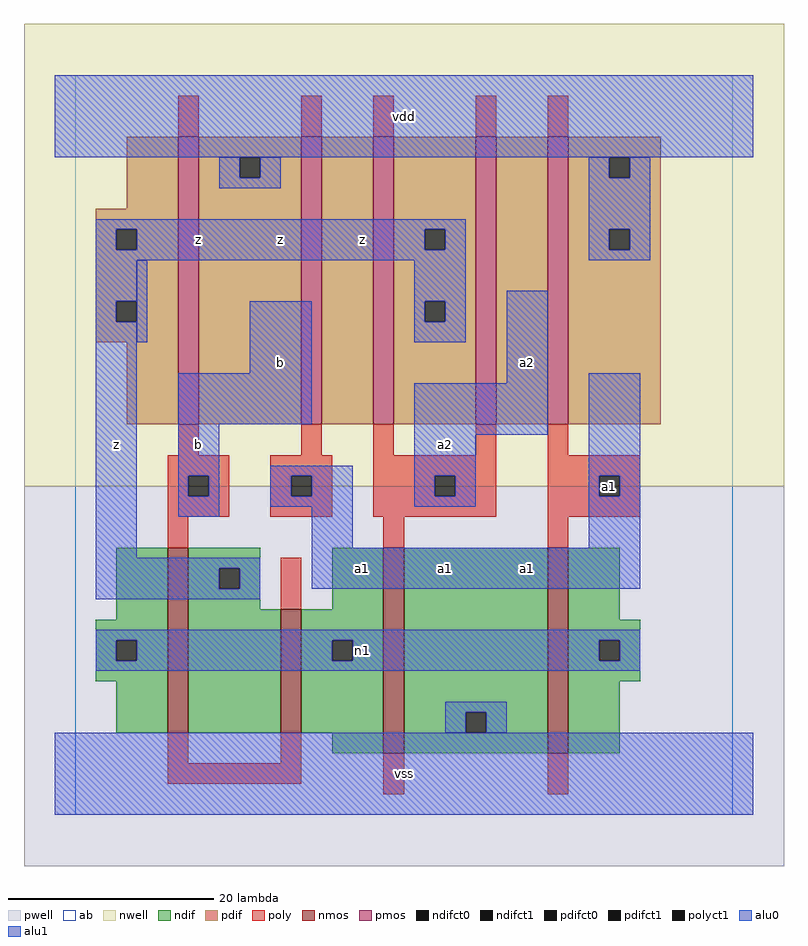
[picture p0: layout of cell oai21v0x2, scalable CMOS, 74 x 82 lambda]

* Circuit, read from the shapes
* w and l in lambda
.subckt oai21v0x2 a1 a2 b n1 vdd vss z
M1 z b n1 VSUBS nfet w=18 l=2
M2 n1 b z VSUBS nfet w=12 l=2
M3 vss a2 n1 VSUBS nfet w=20 l=2
M4 n1 a1 vss VSUBS nfet w=20 l=2
M5 vdd b z n2 pfet w=28 l=2
M6 n3 a1 vdd n2 pfet w=28 l=2
M7 z a2 n3 n2 pfet w=28 l=2
M8 n4 a2 z n2 pfet w=28 l=2
M9 vdd a1 n4 n2 pfet w=28 l=2
.ends

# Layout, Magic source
magic
tech scmos
<< ab >>
rect 0 0 64 72
<< nwell >>
rect -5 32 69 77
<< pwell >>
rect -5 -5 69 32
<< poly >>
rect 10 66 12 70
rect 22 66 24 70
rect 29 66 31 70
rect 39 66 41 70
rect 46 66 48 70
rect 10 35 12 38
rect 22 35 24 38
rect 29 35 31 38
rect 39 35 41 38
rect 9 33 15 35
rect 9 31 11 33
rect 13 31 15 33
rect 9 29 15 31
rect 19 33 25 35
rect 19 31 21 33
rect 23 31 25 33
rect 19 29 25 31
rect 29 33 41 35
rect 29 31 35 33
rect 37 31 41 33
rect 29 29 41 31
rect 46 35 48 38
rect 46 33 55 35
rect 46 31 51 33
rect 53 31 55 33
rect 46 29 55 31
rect 9 26 11 29
rect 30 26 32 29
rect 46 26 48 29
rect 20 20 22 25
rect 9 5 11 8
rect 20 5 22 8
rect 9 3 22 5
rect 30 2 32 6
rect 46 2 48 6
<< ndif >>
rect 4 19 9 26
rect 2 17 9 19
rect 2 15 4 17
rect 6 15 9 17
rect 2 13 9 15
rect 4 8 9 13
rect 11 24 18 26
rect 11 22 14 24
rect 16 22 18 24
rect 11 20 18 22
rect 25 20 30 26
rect 11 8 20 20
rect 22 17 30 20
rect 22 15 25 17
rect 27 15 30 17
rect 22 8 30 15
rect 25 6 30 8
rect 32 10 46 26
rect 32 8 38 10
rect 40 8 46 10
rect 32 6 46 8
rect 48 19 53 26
rect 48 17 55 19
rect 48 15 51 17
rect 53 15 55 17
rect 48 13 55 15
rect 48 6 53 13
<< pdif >>
rect 5 59 10 66
rect 2 57 10 59
rect 2 55 4 57
rect 6 55 10 57
rect 2 50 10 55
rect 2 48 4 50
rect 6 48 10 50
rect 2 46 10 48
rect 5 38 10 46
rect 12 64 22 66
rect 12 62 16 64
rect 18 62 22 64
rect 12 38 22 62
rect 24 38 29 66
rect 31 57 39 66
rect 31 55 34 57
rect 36 55 39 57
rect 31 50 39 55
rect 31 48 34 50
rect 36 48 39 50
rect 31 38 39 48
rect 41 38 46 66
rect 48 64 57 66
rect 48 62 52 64
rect 54 62 57 64
rect 48 57 57 62
rect 48 55 52 57
rect 54 55 57 57
rect 48 38 57 55
<< alu1 >>
rect -2 64 66 72
rect 2 57 38 58
rect 2 55 4 57
rect 6 55 34 57
rect 36 55 38 57
rect 2 54 38 55
rect 2 50 6 54
rect 2 48 4 50
rect 2 25 6 48
rect 33 50 38 54
rect 17 43 23 50
rect 33 48 34 50
rect 36 48 38 50
rect 33 46 38 48
rect 10 38 23 43
rect 42 42 46 51
rect 10 33 14 38
rect 33 37 46 42
rect 10 31 11 33
rect 13 31 14 33
rect 10 29 14 31
rect 19 33 27 34
rect 19 31 21 33
rect 23 31 27 33
rect 19 30 27 31
rect 33 33 39 37
rect 33 31 35 33
rect 37 31 39 33
rect 33 30 39 31
rect 50 33 55 43
rect 50 31 51 33
rect 53 31 55 33
rect 23 26 27 30
rect 50 26 55 31
rect 2 24 18 25
rect 2 22 14 24
rect 16 22 18 24
rect 23 22 55 26
rect 2 21 18 22
rect -2 0 66 8
<< nmos >>
rect 9 8 11 26
rect 20 8 22 20
rect 30 6 32 26
rect 46 6 48 26
<< pmos >>
rect 10 38 12 66
rect 22 38 24 66
rect 29 38 31 66
rect 39 38 41 66
rect 46 38 48 66
<< polyct1 >>
rect 11 31 13 33
rect 21 31 23 33
rect 35 31 37 33
rect 51 31 53 33
<< ndifct0 >>
rect 4 15 6 17
rect 25 15 27 17
rect 38 8 40 10
rect 51 15 53 17
<< ndifct1 >>
rect 14 22 16 24
<< pdifct0 >>
rect 16 62 18 64
rect 52 62 54 64
rect 52 55 54 57
<< pdifct1 >>
rect 4 55 6 57
rect 4 48 6 50
rect 34 55 36 57
rect 34 48 36 50
<< alu0 >>
rect 14 62 16 64
rect 18 62 20 64
rect 14 61 20 62
rect 50 62 52 64
rect 54 62 56 64
rect 50 57 56 62
rect 50 55 52 57
rect 54 55 56 57
rect 50 54 56 55
rect 6 46 7 54
rect 2 17 55 18
rect 2 15 4 17
rect 6 15 25 17
rect 27 15 51 17
rect 53 15 55 17
rect 2 14 55 15
rect 36 10 42 11
rect 36 8 38 10
rect 40 8 42 10
<< labels >>
rlabel alu0 28 16 28 16 6 n1
rlabel alu1 4 36 4 36 6 z
rlabel alu1 12 36 12 36 6 b
rlabel alu1 12 56 12 56 6 z
rlabel alu1 28 24 28 24 6 a1
rlabel alu1 20 44 20 44 6 b
rlabel alu1 20 56 20 56 6 z
rlabel alu1 28 56 28 56 6 z
rlabel alu1 32 4 32 4 6 vss
rlabel alu1 36 24 36 24 6 a1
rlabel alu1 44 24 44 24 6 a1
rlabel alu1 36 36 36 36 6 a2
rlabel alu1 44 44 44 44 6 a2
rlabel alu1 32 68 32 68 6 vdd
rlabel polyct1 52 32 52 32 6 a1
<< end >>
